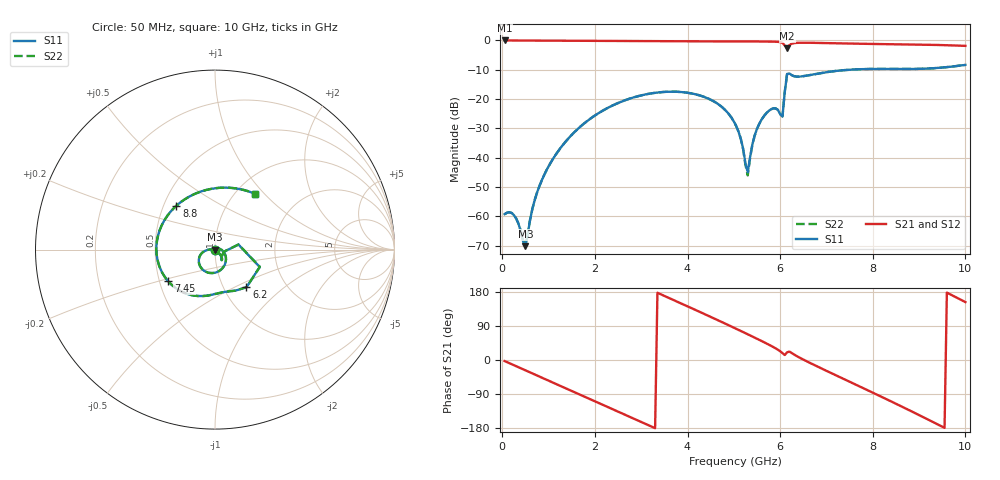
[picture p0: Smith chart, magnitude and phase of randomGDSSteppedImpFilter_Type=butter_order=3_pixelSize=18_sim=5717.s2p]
! freq	dB(S11)	phase(S11)	dB(S12)	phase(S12)
!  dB(S21)	phase(S21)	dB(S22)	phase(S22)
!S-par simulation data
#  GHz  S  DB  R 50
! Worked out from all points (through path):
!   200 points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, 50 MHz to 10 GHz, reference 50 ohm
!   highest |S21| = -0.01 dB at 50 MHz (marker M1); lowest = -2.7 dB at 6.15 GHz (marker M2)
!   group delay of S21, straight-line fit = 157 ps
!   lowest |S11| = -70.1 dB at 500 MHz (marker M3), VSWR 1.00, Z = 50 + j0.00361 ohm
!   |S11| at or under -10 dB: start of sweep to 7.492 GHz
!   |S22| runs from -69.6 to -8.4 dB; largest |S21 - S12| = 0
!   S11 on the Smith chart (normalised r, x): 50 MHz: 1.00, -0.00; 6.2 GHz: 1.28, -0.58; 7.45 GHz: 0.56, -0.22; 8.8 GHz: 0.58, +0.32; 10 GHz: 1.22, +0.89
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0.05  -59.23 -12.3  -0.01 -2.8  -0.01 -2.8  -59.23 -12.3
0.25  -59.53 -46.3  -0.03 -13.6  -0.03 -13.6  -59.48 -46.1
0.5  -70.13 6.6  -0.04 -27.2  -0.04 -27.2  -69.57 4.5
0.65  -57.39 59.3  -0.05 -35.3  -0.05 -35.3  -57.40 57.4
0.9  -46.01 47.2  -0.06 -48.9  -0.06 -48.9  -46.02 46.3
1.75  -28.52 -2.7  -0.11 -95.1  -0.11 -95.1  -28.52 -3.2
2.65  -20.40 -53.0  -0.21 -144.3  -0.21 -144.3  -20.40 -53.4
3.4  -17.68 -94.0  -0.30 174.6  -0.30 174.6  -17.68 -94.3
4.45  -19.83 -150.6  -0.35 116.6  -0.35 116.6  -19.83 -151.1
5.05  -29.14 -178.7  -0.34 82.5  -0.34 82.5  -29.17 -179.9
5.3  -44.93 -99.0  -0.34 67.9  -0.34 67.9  -46.01 -97.6
5.4  -35.44 -45.4  -0.35 62.0  -0.35 62.0  -35.56 -43.1
5.6  -26.95 -45.5  -0.37 50.1  -0.37 50.1  -26.97 -44.7
6.05  -25.93 -14.0  -0.82 18.1  -0.82 18.1  -25.91 -13.7
6.15  -11.45 -21.3  -2.67 20.4  -2.67 20.4  -11.45 -21.0
6.2  -11.26 -50.1  -1.60 22.1  -1.60 22.1  -11.26 -49.8
6.7  -11.63 -101.2  -0.82 -11.0  -0.82 -11.0  -11.63 -100.9
7.45  -10.05 -145.8  -1.06 -54.5  -1.06 -54.5  -10.04 -145.6
8.35  -9.72 159.8  -1.27 -106.5  -1.27 -106.5  -9.72 160.1
8.8  -9.75 131.3  -1.36 -133.3  -1.36 -133.3  -9.75 131.7
9.4  -9.38 92.5  -1.55 -169.8  -1.55 -169.8  -9.38 93.0
10  -8.35 54.3  -1.86 152.8  -1.86 152.8  -8.36 54.8
